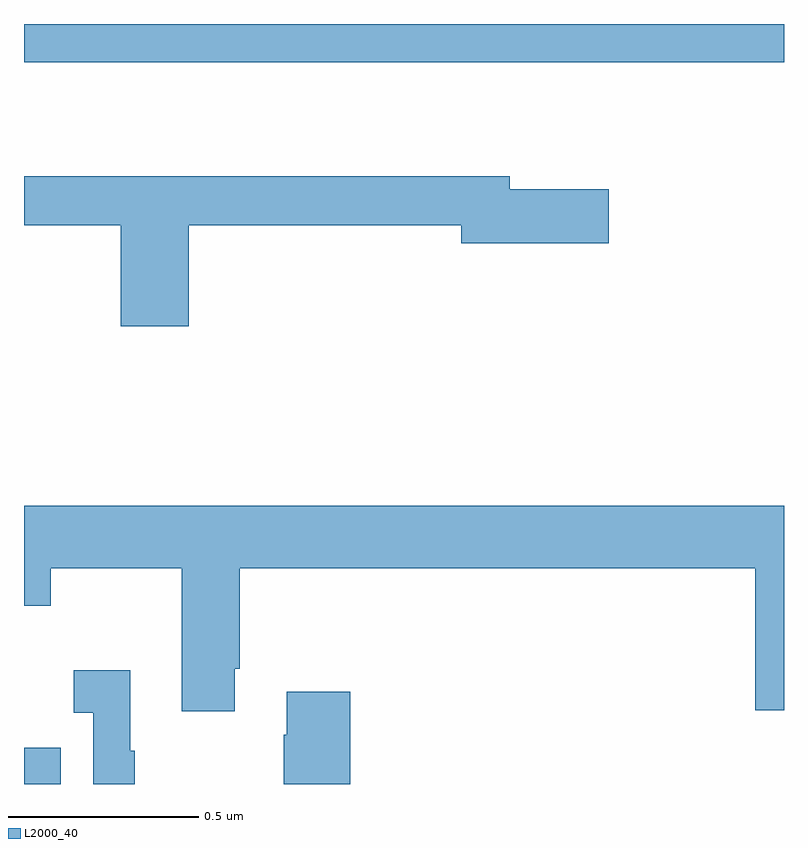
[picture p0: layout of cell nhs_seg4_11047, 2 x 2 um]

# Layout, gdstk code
import gdstk
lib = gdstk.Library(unit=1e-6, precision=1e-09)
def R(c, l, rs):  # rectangles x0, y0, x1, y1
    for r in rs: c.add(gdstk.rectangle(r[:2], r[2:], *l))
def P(c, l, *ps):  # polygons
    for p in ps: c.add(gdstk.Polygon(p, *l))
L2000_40 = (2000, 40)

nhs_seg4_11047 = lib.new_cell('nhs_seg4_11047')
R(nhs_seg4_11047, L2000_40, [(247,814.9,247.097,814.995), (247,816.8,249,816.9)])
P(nhs_seg4_11047, L2000_40, [(247.433,816.37),(248.15,816.37),(248.15,816.323),(248.539,816.323),(248.539,816.465),(248.278,816.465),(248.278,816.499),(247,816.499),(247,816.37),(247.255,816.37),(247.255,816.105),(247.433,816.105)],
  [(247.555,815.203),(247.568,815.203),(247.568,815.468),(248.924,815.468),(248.924,815.094),(249,815.094),(249,815.632),(247,815.632),(247,815.369),(247.071,815.369),(247.071,815.468),(247.415,815.468),(247.415,815.091),(247.555,815.091)],
  [(247.291,814.987),(247.279,814.987),(247.279,815.2),(247.131,815.2),(247.131,815.087),(247.182,815.087),(247.182,814.9),(247.291,814.9)],
  [(247.859,815.143),(247.691,815.143),(247.691,815.03),(247.684,815.03),(247.684,814.9),(247.859,814.9)])

lib.write_gds('nhs_seg4_11047.gds')
